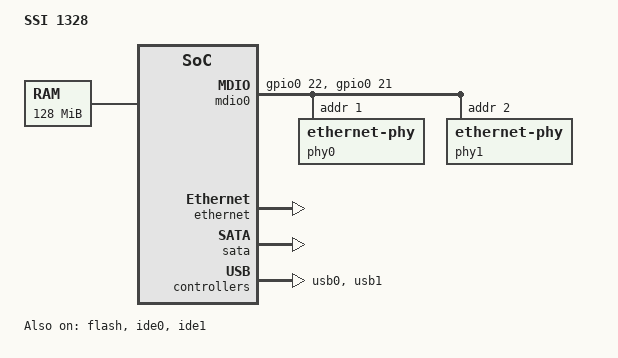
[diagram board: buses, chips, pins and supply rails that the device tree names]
// SPDX-License-Identifier: GPL-2.0
/*
 * Copyright (C) 2021 Corentin Labbe <clabbe@baylibre.com>
 * Device Tree file for SSI 1328
 */

/dts-v1/;

#include "gemini.dtsi"

/ {
	model = "SSI 1328";
	compatible = "ssi,1328", "cortina,gemini";
	#address-cells = <1>;
	#size-cells = <1>;

	memory@0 {
		/* 128 MB */
		device_type = "memory";
		reg = <0x00000000 0x8000000>;
	};

	aliases {
		mdio-gpio0 = &mdio0;
	};

	chosen {
		bootargs = "console=ttyS0,19200n8 initrd=0x900000,9M";
		stdout-path = &uart0;
	};

	mdio0: mdio {
		compatible = "virtual,mdio-gpio";
		gpios = <&gpio0 22 GPIO_ACTIVE_HIGH>, /* MDC */
			<&gpio0 21 GPIO_ACTIVE_HIGH>; /* MDIO */
		#address-cells = <1>;
		#size-cells = <0>;

		/* LAN Marvell 88E1118 */
		phy0: ethernet-phy@1 {
			reg = <1>;
			device_type = "ethernet-phy";
		};
		/* WAN ICPlus IP101A */
		phy1: ethernet-phy@2 {
			reg = <2>;
			device_type = "ethernet-phy";
		};
	};
};

&ethernet {
	status = "okay";
	ethernet-port@0 {
		phy-mode = "rgmii";
		phy-handle = <&phy0>;
	};
	ethernet-port@1 {
		phy-mode = "rgmii";
		phy-handle = <&phy1>;
	};
};

&flash {
	status = "okay";
	/* 32MB of flash */
	reg = <0x30000000 0x03200000>;

	pinctrl-names = "enabled", "disabled";
	pinctrl-0 = <&pflash_default_pins>;
	pinctrl-1 = <&pflash_disabled_pins>;

	partitions {
		compatible = "redboot-fis";
		/* Eraseblock at 0xfe0000 */
		fis-index-block = <0x7F>;
	};
};

&gpio0 {
	pinctrl-names = "default";
	pinctrl-0 = <&gpio0_default_pins>;
};

&ide0 {
	status = "okay";
};

&ide1 {
	status = "okay";
};

&sata {
	cortina,gemini-ata-muxmode = <0>;
	cortina,gemini-enable-sata-bridge;
	status = "okay";
};

&syscon {
	pinctrl {
		/*
		 * gpio0agrp cover line 0-4
		 * gpio0bgrp cover line 5
		 */
		gpio0_default_pins: pinctrl-gpio0 {
			mux {
				function = "gpio0";
				groups = "gpio0agrp", "gpio0bgrp";
			};
		};
		pflash_disabled_pins: pinctrl-pflash-disabled {
			mux {
				function = "gpio0";
				groups = "gpio0ggrp", "gpio0igrp", "gpio0jgrp",
					 "gpio0kgrp";
			};
		};
		pinctrl-gmii {
			/* This platform use both the ethernet ports */
			mux {
				function = "gmii";
				groups = "gmii_gmac0_grp", "gmii_gmac1_grp";
			};
		};
	};
};

&usb0 {
	status = "okay";
};

&usb1 {
	status = "okay";
};
